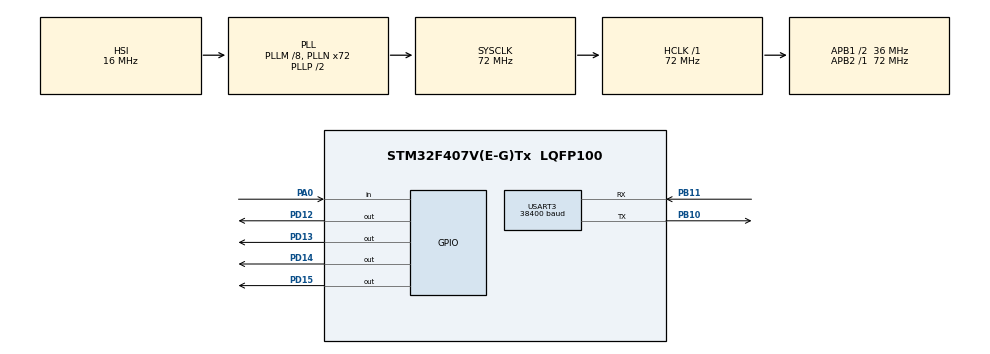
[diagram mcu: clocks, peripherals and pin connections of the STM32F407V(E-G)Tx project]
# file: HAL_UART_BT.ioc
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Mcu.Family=STM32F4
Mcu.Name=STM32F407V(E-G)Tx
Mcu.Package=LQFP100
NVIC.PriorityGroup=NVIC_PRIORITYGROUP_4
NVIC.USART3_IRQn=true\:0\:0\:false\:false\:true\:true
PA0-WKUP.Signal=GPIO_Input
PA13.Mode=Serial_Wire
PA13.Signal=SYS_JTMS-SWDIO
PA14.Mode=Serial_Wire
PA14.Signal=SYS_JTCK-SWCLK
PB10.Mode=Asynchronous
PB10.Signal=USART3_TX
PB11.Mode=Asynchronous
PB11.Signal=USART3_RX
PD12.GPIO_Speed=GPIO_SPEED_FREQ_HIGH
PD12.Signal=GPIO_Output
PD13.GPIO_Speed=GPIO_SPEED_FREQ_HIGH
PD13.Signal=GPIO_Output
PD14.GPIO_Speed=GPIO_SPEED_FREQ_HIGH
PD14.Signal=GPIO_Output
PD15.GPIO_Speed=GPIO_SPEED_FREQ_HIGH
PD15.Signal=GPIO_Output
ProjectManager.HeapSize=0x200
ProjectManager.StackSize=0x400
ProjectManager.TargetToolchain=MDK-ARM V5
RCC.48MHZClocksFreq_Value=36000000
RCC.AHBFreq_Value=72000000
RCC.APB1CLKDivider=RCC_HCLK_DIV2
RCC.APB1Freq_Value=36000000
RCC.APB1TimFreq_Value=72000000
RCC.APB2Freq_Value=72000000
RCC.APB2TimFreq_Value=72000000
RCC.CortexFreq_Value=72000000
RCC.HCLKFreq_Value=72000000
RCC.HSE_VALUE=25000000
RCC.HSI_VALUE=16000000
RCC.LSE_VALUE=32768
RCC.PLLM=8
RCC.PLLN=72
RCC.SYSCLKFreq_VALUE=72000000
RCC.SYSCLKSource=RCC_SYSCLKSOURCE_PLLCLK
RCC.VCOOutputFreq_Value=144000000
USART3.BaudRate=38400
USART3.StopBits=STOPBITS_2
USART3.VirtualMode=VM_ASYNC
board=HAL_UART_BT

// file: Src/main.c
/**
  ******************************************************************************
  * @file           : main.c
  * @brief          : Main program body
  ******************************************************************************
  ** This notice applies to any and all portions of this file
  * that are not between comment pairs USER CODE BEGIN and
  * USER CODE END. Other portions of this file, whether
  * inserted by the user or by software development tools
  * are owned by their respective copyright owners.
  *
  * COPYRIGHT(c) 2018 STMicroelectronics
  *
  * Redistribution and use in source and binary forms, with or without modification,
  * are permitted provided that the following conditions are met:
  *   1. Redistributions of source code must retain the above copyright notice,
  *      this list of conditions and the following disclaimer.
  *   2. Redistributions in binary form must reproduce the above copyright notice,
  *      this list of conditions and the following disclaimer in the documentation
  *      and/or other materials provided with the distribution.
  *   3. Neither the name of STMicroelectronics nor the names of its contributors
  *      may be used to endorse or promote products derived from this software
  *      without specific prior written permission.
  *
  * THIS SOFTWARE IS PROVIDED BY THE COPYRIGHT HOLDERS AND CONTRIBUTORS "AS IS"
  * AND ANY EXPRESS OR IMPLIED WARRANTIES, INCLUDING, BUT NOT LIMITED TO, THE
  * IMPLIED WARRANTIES OF MERCHANTABILITY AND FITNESS FOR A PARTICULAR PURPOSE ARE
  * DISCLAIMED. IN NO EVENT SHALL THE COPYRIGHT HOLDER OR CONTRIBUTORS BE LIABLE
  * FOR ANY DIRECT, INDIRECT, INCIDENTAL, SPECIAL, EXEMPLARY, OR CONSEQUENTIAL
  * DAMAGES (INCLUDING, BUT NOT LIMITED TO, PROCUREMENT OF SUBSTITUTE GOODS OR
  * SERVICES; LOSS OF USE, DATA, OR PROFITS; OR BUSINESS INTERRUPTION) HOWEVER
  * CAUSED AND ON ANY THEORY OF LIABILITY, WHETHER IN CONTRACT, STRICT LIABILITY,
  * OR TORT (INCLUDING NEGLIGENCE OR OTHERWISE) ARISING IN ANY WAY OUT OF THE USE
  * OF THIS SOFTWARE, EVEN IF ADVISED OF THE POSSIBILITY OF SUCH DAMAGE.
  *
  ******************************************************************************
  */
#include "main.h"
#include "stm32f4xx_hal.h"

/* USER CODE BEGIN Includes */
#include "stdio.h"
#include "stdbool.h"
#include "string.h"
/* USER CODE END Includes */

UART_HandleTypeDef huart3;

/* USER CODE BEGIN PV */
/* Private variables ---------------------------------------------------------*/
//bool BTparing = true;
int BTparing = 1;

char strBTtx[8] = "paringtx";
char strBTrx[8];

GPIO_PinState PinState;
/* USER CODE END PV */

void SystemClock_Config(void);
static void MX_GPIO_Init(void);
static void MX_USART3_UART_Init(void);

/* USER CODE BEGIN PFP */
/* Private function prototypes -----------------------------------------------*/
void ParingBT(void);
/* USER CODE END PFP */

/* USER CODE BEGIN 0 */
//char rxBuff[5];
//char txBuff[5];
//bool ledState = false;
/* USER CODE END 0 */

int main(void)
{

  /* MCU Configuration----------------------------------------------------------*/

  /* Reset of all peripherals, Initializes the Flash interface and the Systick. */
  HAL_Init();

  /* Configure the system clock */
  SystemClock_Config();

  /* Initialize all configured peripherals */
  MX_GPIO_Init();
  MX_USART3_UART_Init();
  /* USER CODE BEGIN 2 */
	//HAL_GPIO_WritePin(GPIOD, GPIO_PIN_12, GPIO_PIN_SET);
	__HAL_UART_ENABLE_IT(&huart3, UART_IT_TC|UART_IT_RXNE);
  ParingBT();
  /* USER CODE END 2 */

  /* Infinite loop */
  while (1)
  {

  /* USER CODE BEGIN 3 */
		/*
		HAL_UART_Receive(&huart3, (uint8_t*)rxBuff, strlen(rxBuff), 500);
		if (rxBuff[0] == 'o' && rxBuff[1] == 'n')
		{
			HAL_GPIO_WritePin(GPIOD, GPIO_PIN_12|GPIO_PIN_14, GPIO_PIN_SET);
			if(ledState != true)
			{
				sprintf(txBuff, "Led ON\r\n");
				HAL_UART_Transmit(&huart3, (uint8_t*)txBuff, strlen(txBuff), 5);
			}
			ledState = true;
		}
		else if(rxBuff[0] == 'o' && rxBuff[1] == 'f' && rxBuff[2] == 'f')
		{
			HAL_GPIO_WritePin(GPIOD, GPIO_PIN_12|GPIO_PIN_14, GPIO_PIN_RESET);
			if(ledState != false)
			{
				sprintf(txBuff, "Led OFF\r\n");
				HAL_UART_Transmit(&huart3, (uint8_t*)txBuff, strlen(txBuff), 5);
			}
			ledState = false;
		}
		*/

		HAL_GPIO_TogglePin(GPIOD, GPIO_PIN_14);
		HAL_Delay(500);
		//HAL_NVIC_SystemReset();
  }
  /* USER CODE END 3 */

}

void SystemClock_Config(void)
{

  RCC_OscInitTypeDef RCC_OscInitStruct;
  RCC_ClkInitTypeDef RCC_ClkInitStruct;

    /**Configure the main internal regulator output voltage
    */
  __HAL_RCC_PWR_CLK_ENABLE();

  __HAL_PWR_VOLTAGESCALING_CONFIG(PWR_REGULATOR_VOLTAGE_SCALE1);

    /**Initializes the CPU, AHB and APB busses clocks
    */
  RCC_OscInitStruct.OscillatorType = RCC_OSCILLATORTYPE_HSI;
  RCC_OscInitStruct.HSIState = RCC_HSI_ON;
  RCC_OscInitStruct.HSICalibrationValue = 16;
  RCC_OscInitStruct.PLL.PLLState = RCC_PLL_ON;
  RCC_OscInitStruct.PLL.PLLSource = RCC_PLLSOURCE_HSI;
  RCC_OscInitStruct.PLL.PLLM = 8;
  RCC_OscInitStruct.PLL.PLLN = 72;
  RCC_OscInitStruct.PLL.PLLP = RCC_PLLP_DIV2;
  RCC_OscInitStruct.PLL.PLLQ = 4;
  if (HAL_RCC_OscConfig(&RCC_OscInitStruct) != HAL_OK)
  {
    _Error_Handler(__FILE__, __LINE__);
  }

    /**Initializes the CPU, AHB and APB busses clocks
    */
  RCC_ClkInitStruct.ClockType = RCC_CLOCKTYPE_HCLK|RCC_CLOCKTYPE_SYSCLK
                              |RCC_CLOCKTYPE_PCLK1|RCC_CLOCKTYPE_PCLK2;
  RCC_ClkInitStruct.SYSCLKSource = RCC_SYSCLKSOURCE_PLLCLK;
  RCC_ClkInitStruct.AHBCLKDivider = RCC_SYSCLK_DIV1;
  RCC_ClkInitStruct.APB1CLKDivider = RCC_HCLK_DIV2;
  RCC_ClkInitStruct.APB2CLKDivider = RCC_HCLK_DIV1;

  if (HAL_RCC_ClockConfig(&RCC_ClkInitStruct, FLASH_LATENCY_2) != HAL_OK)
  {
    _Error_Handler(__FILE__, __LINE__);
  }

    /**Configure the Systick interrupt time
    */
  HAL_SYSTICK_Config(HAL_RCC_GetHCLKFreq()/1000);

    /**Configure the Systick
    */
  HAL_SYSTICK_CLKSourceConfig(SYSTICK_CLKSOURCE_HCLK);

  /* SysTick_IRQn interrupt configuration */
  HAL_NVIC_SetPriority(SysTick_IRQn, 0, 0);
}

/* USART3 init function */
static void MX_USART3_UART_Init(void)
{

  huart3.Instance = USART3;
  huart3.Init.BaudRate = 38400;
  huart3.Init.WordLength = UART_WORDLENGTH_8B;
  huart3.Init.StopBits = UART_STOPBITS_2;
  huart3.Init.Parity = UART_PARITY_NONE;
  huart3.Init.Mode = UART_MODE_TX_RX;
  huart3.Init.HwFlowCtl = UART_HWCONTROL_NONE;
  huart3.Init.OverSampling = UART_OVERSAMPLING_16;
  if (HAL_UART_Init(&huart3) != HAL_OK)
  {
    _Error_Handler(__FILE__, __LINE__);
  }

}

/** Configure pins as
        * Analog
        * Input
        * Output
        * EVENT_OUT
        * EXTI
*/
static void MX_GPIO_Init(void)
{

  GPIO_InitTypeDef GPIO_InitStruct;

  /* GPIO Ports Clock Enable */
  __HAL_RCC_GPIOA_CLK_ENABLE();
  __HAL_RCC_GPIOB_CLK_ENABLE();
  __HAL_RCC_GPIOD_CLK_ENABLE();

  /*Configure GPIO pin Output Level */
  HAL_GPIO_WritePin(GPIOD, GPIO_PIN_12|GPIO_PIN_13|GPIO_PIN_14|GPIO_PIN_15, GPIO_PIN_RESET);

  /*Configure GPIO pin : PA0 */
  GPIO_InitStruct.Pin = GPIO_PIN_0;
  GPIO_InitStruct.Mode = GPIO_MODE_INPUT;
  GPIO_InitStruct.Pull = GPIO_NOPULL;
  HAL_GPIO_Init(GPIOA, &GPIO_InitStruct);

  /*Configure GPIO pins : PD12 PD13 PD14 PD15 */
  GPIO_InitStruct.Pin = GPIO_PIN_12|GPIO_PIN_13|GPIO_PIN_14|GPIO_PIN_15;
  GPIO_InitStruct.Mode = GPIO_MODE_OUTPUT_PP;
  GPIO_InitStruct.Pull = GPIO_NOPULL;
  GPIO_InitStruct.Speed = GPIO_SPEED_FREQ_HIGH;
  HAL_GPIO_Init(GPIOD, &GPIO_InitStruct);

}

/* USER CODE BEGIN 4 */
void ParingBT(void)
{
	while(BTparing == 1)
	{
		HAL_UART_Transmit_IT(&huart3, (uint8_t *)strBTtx, strlen(strBTtx));
		//HAL_UART_Receive(&huart3, (uint8_t *)strBTrx, strlen(strBTrx), 500); // receive data and seve in strBTrx
		//PinState = HAL_GPIO_ReadPin(GPIOA, GPIO_PIN_0);
		HAL_GPIO_WritePin(GPIOD, GPIO_PIN_12, GPIO_PIN_SET);
		if(strncmp(strBTrx, "paringrx", 8) == 0)			//Compara rxBuff con "_"
		{
			HAL_GPIO_WritePin(GPIOD, GPIO_PIN_12, GPIO_PIN_RESET);
			BTparing = 0;
		}
	}
}
/* USER CODE END 4 */

void _Error_Handler(char *file, int line)
{
  while(1)
  {
  }
}

/************************ (C) COPYRIGHT STMicroelectronics *****END OF FILE****/
